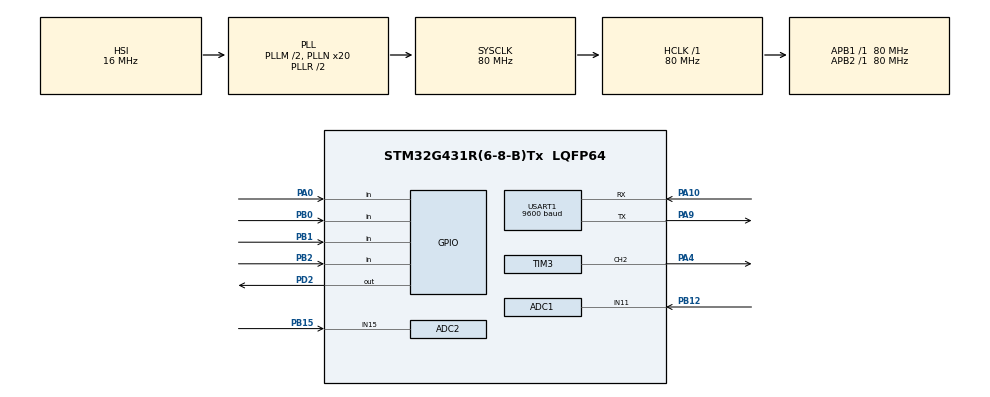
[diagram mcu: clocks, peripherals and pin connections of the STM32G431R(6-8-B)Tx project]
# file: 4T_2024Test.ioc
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ADC1.Channel-0\#ChannelRegularConversion=ADC_CHANNEL_11
ADC1.ClockPrescaler=ADC_CLOCK_ASYNC_DIV2
ADC1.NbrOfConversionFlag=1
ADC1.OffsetNumber-0\#ChannelRegularConversion=ADC_OFFSET_NONE
ADC1.Rank-0\#ChannelRegularConversion=1
ADC1.SamplingTime-0\#ChannelRegularConversion=ADC_SAMPLETIME_640CYCLES_5
ADC1.master=1
ADC2.Channel-0\#ChannelRegularConversion=ADC_CHANNEL_15
ADC2.ClockPrescaler=ADC_CLOCK_ASYNC_DIV2
ADC2.NbrOfConversionFlag=1
ADC2.OffsetNumber-0\#ChannelRegularConversion=ADC_OFFSET_NONE
ADC2.Rank-0\#ChannelRegularConversion=1
ADC2.SamplingTime-0\#ChannelRegularConversion=ADC_SAMPLETIME_640CYCLES_5
Mcu.Family=STM32G4
Mcu.Name=STM32G431R(6-8-B)Tx
Mcu.Package=LQFP64
NVIC.PriorityGroup=NVIC_PRIORITYGROUP_4
NVIC.TIM3_IRQn=true\:0\:0\:false\:false\:true\:true\:true\:true
NVIC.USART1_IRQn=true\:0\:0\:false\:false\:true\:true\:true\:true
PA0.Signal=GPIO_Input
PA10.Mode=Asynchronous
PA10.Signal=USART1_RX
PA13.Mode=Serial_Wire
PA13.Signal=SYS_JTMS-SWDIO
PA14.Mode=Serial_Wire
PA14.Signal=SYS_JTCK-SWCLK
PA4.Signal=S_TIM3_CH2
PA9.Mode=Asynchronous
PA9.Signal=USART1_TX
PB0.Signal=GPIO_Input
PB1.Signal=GPIO_Input
PB12.Mode=IN11-Single-Ended
PB12.Signal=ADC1_IN11
PB15.Mode=IN15-Single-Ended
PB15.Signal=ADC2_IN15
PB2.Signal=GPIO_Input
PD2.PinState=GPIO_PIN_SET
PD2.Signal=GPIO_Output
PF0-OSC_IN.Mode=HSE-External-Oscillator
PF0-OSC_IN.Signal=RCC_OSC_IN
PF1-OSC_OUT.Mode=HSE-External-Oscillator
PF1-OSC_OUT.Signal=RCC_OSC_OUT
ProjectManager.HeapSize=0x200
ProjectManager.StackSize=0x400
ProjectManager.TargetToolchain=MDK-ARM V5.32
RCC.ADC12Freq_Value=80000000
RCC.AHBFreq_Value=80000000
RCC.APB1Freq_Value=80000000
RCC.APB1TimFreq_Value=80000000
RCC.APB2Freq_Value=80000000
RCC.APB2TimFreq_Value=80000000
RCC.CortexFreq_Value=80000000
RCC.EXTERNAL_CLOCK_VALUE=12288000
RCC.HCLKFreq_Value=80000000
RCC.HSE_VALUE=24000000
RCC.HSI48_VALUE=48000000
RCC.HSI_VALUE=16000000
RCC.LSE_VALUE=32768
RCC.PLLM=RCC_PLLM_DIV2
RCC.PLLN=20
RCC.SYSCLKFreq_VALUE=80000000
RCC.SYSCLKSource=RCC_SYSCLKSOURCE_PLLCLK
RCC.USBFreq_Value=80000000
RCC.VCOOutputFreq_Value=160000000
SH.S_TIM3_CH2.0=TIM3_CH2,PWM Generation2 CH2
TIM3.AutoReloadPreload=TIM_AUTORELOAD_PRELOAD_ENABLE
TIM3.Channel-PWM\ Generation2\ CH2=TIM_CHANNEL_2
TIM3.PeriodNoDither=499
TIM3.Prescaler=79
TIM3.PulseNoDither_2=100
USART1.BaudRate=9600
USART1.VirtualMode-Asynchronous=VM_ASYNC
VP_SYS_VS_DBSignals.Mode=DisableDeadBatterySignals
VP_TIM3_VS_ClockSourceINT.Mode=Internal
board=custom

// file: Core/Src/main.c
/* USER CODE BEGIN Header */
/**
  ******************************************************************************
  * @file           : main.c
  * @brief          : Main program body
  ******************************************************************************
  * @attention
  *
  * Copyright (c) 2024 STMicroelectronics.
  * All rights reserved.
  *
  * This software is licensed under terms that can be found in the LICENSE file
  * in the root directory of this software component.
  * If no LICENSE file comes with this software, it is provided AS-IS.
  *
  ******************************************************************************
  */
/* USER CODE END Header */
#include "main.h"
#include "adc.h"
#include "tim.h"
#include "usart.h"
#include "gpio.h"

/* USER CODE BEGIN Includes */
#include "lcd.h"
#include "Led.h"
#include "stdio.h"
#include "string.h"
#include "Key.h"
/* USER CODE END Includes */

/* USER CODE BEGIN PV */
uint8_t lcd_str[22];
__IO uint32_t lcd_uwtick;

uint8_t key_val;
uint8_t key_d;
uint8_t key_u;
uint8_t key_old;
__IO uint32_t key_uwtick;
__IO uint32_t led_uwtick=0;
uint8_t rx;
char str[50];
uint8_t rx_str[20];
uint8_t rx_len=0;
uint8_t menu_flag=0;
uint8_t std_flag=0;
uint8_t led1_flag=0;
uint8_t led2_flag=0;
float R37_up=2.2,R37_down=1.2,R38_up=3.0,R38_down=1.4;

int R37_all=0;
int R38_all=0;

float R37_num=0;
float R38_num=0;
/* USER CODE END PV */

void SystemClock_Config(void);
/* USER CODE BEGIN PFP */
void LCD_Proc(void);
void key_Proc(void);
void led_Proc(void);
void menu1(void);
void menu2(void);
void menu3(void);
uint16_t get_ADC(ADC_HandleTypeDef hadc);

/* USER CODE END PFP */

int main(void)
{

  /* MCU Configuration--------------------------------------------------------*/

  /* Reset of all peripherals, Initializes the Flash interface and the Systick. */
  HAL_Init();

  /* Configure the system clock */
  SystemClock_Config();

  /* Initialize all configured peripherals */
  MX_GPIO_Init();
  MX_USART1_UART_Init();
  MX_TIM3_Init();
  MX_ADC1_Init();
  MX_ADC2_Init();
  /* USER CODE BEGIN 2 */
	LCD_Init();
	LCD_Clear(Black);
	LCD_SetBackColor(Black);
	LCD_SetTextColor(White);
	led_disp(0x00);

	HAL_UART_Receive_IT(&huart1,&rx,1);
	HAL_TIM_PWM_Start(&htim3,TIM_CHANNEL_2);

	__HAL_TIM_SET_AUTORELOAD(&htim3,499);//Ƶ��
	// 50/500 = 10%ռ�ձ�
	__HAL_TIM_SET_COMPARE(&htim3,TIM_CHANNEL_2,100);

  /* USER CODE END 2 */

  /* Infinite loop */
  while (1)
  {

    /* USER CODE BEGIN 3 */
//		LCD_DisplayStringLine(Line0,(uint8_t*)"hello");
//	 	changeLed(GPIO_PIN_8,GPIO_PIN_RESET);
//		HAL_Delay(500);
//		changeLed(GPIO_PIN_8,GPIO_PIN_SET);
//		HAL_Delay(600);

		LCD_Proc();
		key_Proc();
		led_Proc();

//	  //80 000 000 /(79+1)/(499+1)= 2000Hz
//		__HAL_TIM_SET_AUTORELOAD(&htim3,499);//Ƶ��
//	  // 50/500 = 10%ռ�ձ�
//		__HAL_TIM_SET_COMPARE(&htim3,TIM_CHANNEL_2,50);

//		HAL_UART_Transmit(&huart1,(uint8_t*)"hello",strlen("hello"),50);

  }
  /* USER CODE END 3 */
}

void SystemClock_Config(void)
{
  RCC_OscInitTypeDef RCC_OscInitStruct = {0};
  RCC_ClkInitTypeDef RCC_ClkInitStruct = {0};

  /** Configure the main internal regulator output voltage
  */
  HAL_PWREx_ControlVoltageScaling(PWR_REGULATOR_VOLTAGE_SCALE1);

  /** Initializes the RCC Oscillators according to the specified parameters
  * in the RCC_OscInitTypeDef structure.
  */
  RCC_OscInitStruct.OscillatorType = RCC_OSCILLATORTYPE_HSI;
  RCC_OscInitStruct.HSIState = RCC_HSI_ON;
  RCC_OscInitStruct.HSICalibrationValue = RCC_HSICALIBRATION_DEFAULT;
  RCC_OscInitStruct.PLL.PLLState = RCC_PLL_ON;
  RCC_OscInitStruct.PLL.PLLSource = RCC_PLLSOURCE_HSI;
  RCC_OscInitStruct.PLL.PLLM = RCC_PLLM_DIV2;
  RCC_OscInitStruct.PLL.PLLN = 20;
  RCC_OscInitStruct.PLL.PLLP = RCC_PLLP_DIV2;
  RCC_OscInitStruct.PLL.PLLQ = RCC_PLLQ_DIV2;
  RCC_OscInitStruct.PLL.PLLR = RCC_PLLR_DIV2;
  if (HAL_RCC_OscConfig(&RCC_OscInitStruct) != HAL_OK)
  {
    Error_Handler();
  }

  /** Initializes the CPU, AHB and APB buses clocks
  */
  RCC_ClkInitStruct.ClockType = RCC_CLOCKTYPE_HCLK|RCC_CLOCKTYPE_SYSCLK
                              |RCC_CLOCKTYPE_PCLK1|RCC_CLOCKTYPE_PCLK2;
  RCC_ClkInitStruct.SYSCLKSource = RCC_SYSCLKSOURCE_PLLCLK;
  RCC_ClkInitStruct.AHBCLKDivider = RCC_SYSCLK_DIV1;
  RCC_ClkInitStruct.APB1CLKDivider = RCC_HCLK_DIV1;
  RCC_ClkInitStruct.APB2CLKDivider = RCC_HCLK_DIV1;

  if (HAL_RCC_ClockConfig(&RCC_ClkInitStruct, FLASH_LATENCY_2) != HAL_OK)
  {
    Error_Handler();
  }
}

/* USER CODE BEGIN 4 */

void LCD_Proc(void)
{
	if(uwTick-lcd_uwtick<500)return;
	lcd_uwtick=uwTick;
	switch(menu_flag)
	{
		case 0:menu1();break;
		case 1:menu2();break;
		case 2:menu3();break;
		default:break;
	}
//	sprintf((char*)lcd_str,"hello");
//	LCD_DisplayStringLine(Line1,lcd_str);

}

void led_Proc(void)
{
	if(menu_flag==0)
	{
		if((led1_flag==0)&&(led2_flag==0))
			led_disp(0x04);
		else if(led1_flag==1)
		{
			led_disp(0x05);
			if(uwTick-led_uwtick>1000)
				led1_flag=0;
		}
		else if(led2_flag==1)
		{
			led_disp(0x06);
			if(uwTick-led_uwtick>1000)
				led2_flag=0;
		}
	}

	else if(menu_flag==1)
		led_disp(0x08);
	else if(menu_flag==2)
		led_disp(0x10);
}

void key_Proc(void)
{
	if(uwTick-key_uwtick<50)return;
	key_uwtick=uwTick;
	key_val = key_scan();
	key_d=key_val&(key_old^key_val);
	key_u=~key_val&(key_old^key_val);
	key_old=key_val;

	switch(key_d)
	{
		case 1:
			std_flag=0;
			if(menu_flag<2) menu_flag++;
			else menu_flag=0;
			break;
		case 2:
			if(menu_flag==1)
			{
				if(std_flag<3) std_flag++;
				else std_flag=0;
			}
			else if(menu_flag==0)
			{
				R37_all++;
				if(3.3*get_ADC(hadc2)/4096<=R37_up&&3.3*get_ADC(hadc2)/4096>=R37_down)
				{
					R37_num++;
					led1_flag=1;
					led_uwtick=uwTick;
				}
			}
			break;
		case 3:
			if(menu_flag==1)
			{
				R38_all=0;
				R38_num=0;
				R37_all=0;
				R37_num=0;
				switch(std_flag)
				{
					case 0:
						if(R37_up<3.0f)
							R37_up=R37_up+0.2f;
						else R37_up=2.2;
					break;
					case 1:
						if(R37_down<2.0f)
							R37_down+=0.2f;
						else R37_down=1.2;
					break;
					case 2:
						if(R38_up<3.0f)
							R38_up+=0.2f;
						else R38_up=2.2;
					break;
					case 3:
						if(R38_down<2.0f)
							R38_down+=0.2f;
						else R38_down=1.2;
					break;
				}
			}
			else if(menu_flag==0)
			{
				std_flag=0;
				R38_all++;
				if(3.3*get_ADC(hadc1)/4096<=R38_up&&3.3*get_ADC(hadc1)/4096>=R38_down)
				{
					R38_num++;
					led2_flag=1;
					led_uwtick=uwTick;
				}
			}
			break;
		case 4:
			if(menu_flag==1)
			{
				R38_all=0;
				R38_num=0;
				R37_all=0;
				R37_num=0;
				switch(std_flag)
				{
					case 0:
						if(R37_up>2.2f)
							R37_up-=0.2f;
						else R37_up=3.0;
					break;
					case 1:
						if(R37_down>1.2f)
							R37_down-=0.2f;
						else R37_down=2.0;
					break;
					case 2:
						if(R38_up>2.2f)
							R38_up-=0.2f;
						else R38_up=3.0;
					break;
					case 3:
						if(R38_down>1.2f)
							R38_down-=0.2f;
						else R38_down=2.0;
					break;
				}
			}
			else if(menu_flag==2)
			{
				std_flag=0;
				R38_all=0;
				R38_num=0;
				R37_all=0;
				R37_num=0;
			}
			break;
	}
//	if(key_d!=0)
//	{
//			sprintf((char*)lcd_str,"ked:%d",key_d);
//			LCD_DisplayStringLine(Line0,lcd_str);
//	}

}

void HAL_UART_RxCpltCallback(UART_HandleTypeDef *huart)
{

	rx_str[rx_len++]=rx;
	if(rx_len>=3)
	{
		rx_len=0;
		if(rx_str[0]=='R'&&rx_str[1]=='3'&&rx_str[2]=='7')
		{
			sprintf(str,"R37:%d,%d,%.1f%%\n",R37_all,(int)R37_num,R37_num/R37_all*100);
			HAL_UART_Transmit(&huart1,(uint8_t*)str,strlen(str),50);
		}
		if(rx_str[0]=='R'&&rx_str[1]=='3'&&rx_str[2]=='8')
		{
			sprintf(str,"R38:%d,%d,%.1f%%\n",R38_all,(int)R38_num,R38_num/R38_all*100);
			HAL_UART_Transmit(&huart1,(uint8_t*)str,strlen(str),50);
		}
	}
	if(rx_str[0]=='R')
		rx_len=1;
	if(rx_str[1]=='3')
		rx_len=2;
//	if(rx=='a')
//	{
//		sprintf(str,"success\n");
//
//	}
//	else
//	{
//		sprintf(str,"error\n");
//	}

	HAL_UART_Receive_IT(&huart1,&rx,1);
}

void menu1(void)
{
	sprintf((char*)lcd_str,"       GOODS      ");
	LCD_DisplayStringLine(Line1,lcd_str);
	sprintf((char*)lcd_str,"     R37:%.2fV    ",3.3*get_ADC(hadc2)/4096);
	LCD_DisplayStringLine(Line3,lcd_str);
	sprintf((char*)lcd_str,"     R38:%.2fV    ",3.3*get_ADC(hadc1)/4096);
	LCD_DisplayStringLine(Line4,lcd_str);

}
void menu2(void)
{
	sprintf((char*)lcd_str,"      STANDARD    ");
	LCD_DisplayStringLine(Line1,lcd_str);
	sprintf((char*)lcd_str,"    SR37:%.1f-%.1f",R37_down,R37_up);
	LCD_DisplayStringLine(Line3,lcd_str);
	sprintf((char*)lcd_str,"    SR38:%.1f-%.1f",R38_down,R38_up);
	LCD_DisplayStringLine(Line4,lcd_str);
}
void menu3(void)
{
	sprintf((char*)lcd_str,"        PASS      ");
	LCD_DisplayStringLine(Line1,lcd_str);
	if(R37_all==0)
		sprintf((char*)lcd_str,"     PR37:0.0%%  ");
	else
		sprintf((char*)lcd_str,"     PR37:%.1f%%  ",R37_num/R37_all*100);
	LCD_DisplayStringLine(Line3,lcd_str);
	if(R38_all==0)
		sprintf((char*)lcd_str,"     PR38:0.0%%  ");
	else
		sprintf((char*)lcd_str,"     PR38:%.1f%%    ",R38_num/R38_all*100);
	LCD_DisplayStringLine(Line4,lcd_str);
}

uint16_t get_ADC(ADC_HandleTypeDef hadc)
{
	uint16_t adc=0;
	HAL_ADC_Start(&hadc);
	adc = HAL_ADC_GetValue(&hadc);
	return adc;
}

/* USER CODE END 4 */

void Error_Handler(void)
{
  __disable_irq();
  while (1)
  {
  }
}
